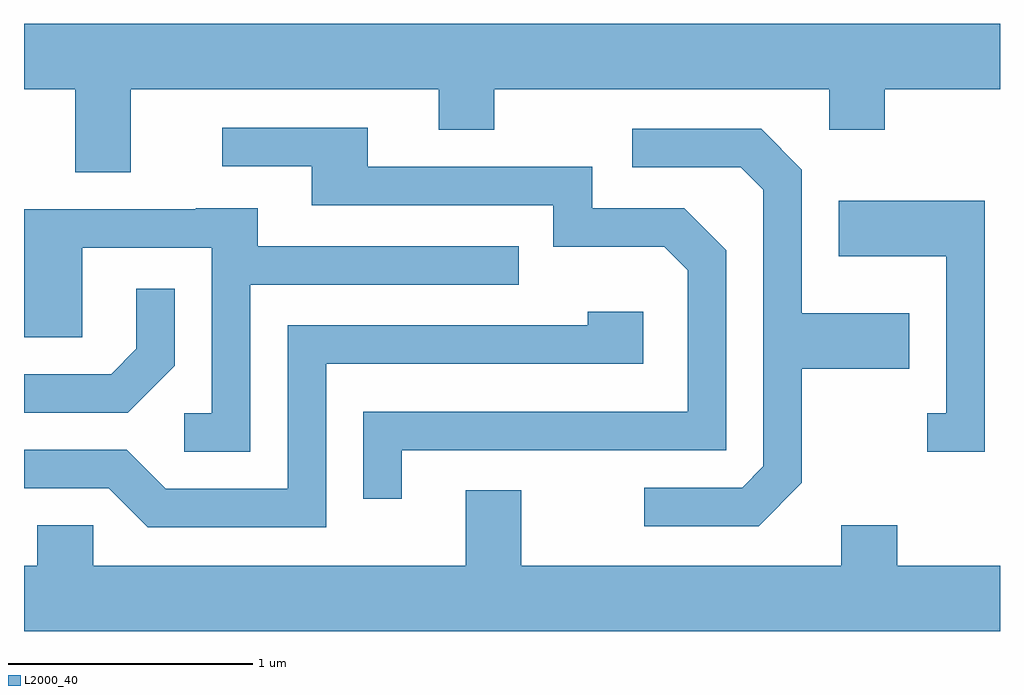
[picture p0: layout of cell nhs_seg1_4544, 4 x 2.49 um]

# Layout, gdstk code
import gdstk
lib = gdstk.Library(unit=1e-6, precision=1e-09)
def P(c, l, *ps):  # polygons
    for p in ps: c.add(gdstk.Polygon(p, *l))
L2000_40 = (2000, 40)

nhs_seg1_4544 = lib.new_cell('nhs_seg1_4544')
P(nhs_seg1_4544, L2000_40, [(322.049,908.456),(323.311,908.456),(323.311,908.291),(323.539,908.291),(323.539,908.456),(324.911,908.456),(324.911,908.291),(325.139,908.291),(325.139,908.456),(325.611,908.456),(325.611,908.724),(321.611,908.724),(321.611,908.456),(321.821,908.456),(321.821,908.116),(322.049,908.116)],
  [(323.159,906.976),(324.489,906.976),(324.489,907.797),(324.317,907.969),(323.939,907.969),(323.939,908.139),(323.019,908.139),(323.019,908.299),(322.423,908.299),(322.423,908.141),(322.791,908.141),(322.791,907.981),(323.781,907.981),(323.781,907.811),(324.234,907.811),(324.331,907.714),(324.331,907.134),(323.001,907.134),(323.001,906.778),(323.159,906.778)],
  [(324.799,906.844),(324.799,907.311),(325.239,907.311),(325.239,907.539),(324.799,907.539),(324.799,908.127),(324.632,908.294),(324.103,908.294),(324.103,908.136),(324.549,908.136),(324.641,908.044),(324.641,906.912),(324.554,906.824),(324.153,906.824),(324.153,906.666),(324.622,906.666)],
  [(325.549,907.999),(324.951,907.999),(324.951,907.771),(325.391,907.771),(325.391,907.129),(325.313,907.129),(325.313,906.971),(325.549,906.971)],
  [(322.539,907.656),(323.638,907.656),(323.638,907.814),(322.569,907.814),(322.569,907.969),(322.315,907.969),(322.315,907.964),(321.611,907.964),(321.611,907.441),(321.849,907.441),(321.849,907.806),(322.381,907.806),(322.381,907.129),(322.268,907.129),(322.268,906.971),(322.539,906.971)],
  [(322.229,907.324),(322.229,907.638),(322.071,907.638),(322.071,907.392),(321.969,907.289),(321.611,907.289),(321.611,907.131),(322.037,907.131)],
  [(322.849,907.331),(324.149,907.331),(324.149,907.544),(323.921,907.544),(323.921,907.489),(322.691,907.489),(322.691,906.819),(322.192,906.819),(322.032,906.979),(321.611,906.979),(321.611,906.821),(321.959,906.821),(322.119,906.661),(322.849,906.661)],
  [(325.611,906.504),(325.189,906.504),(325.189,906.669),(324.961,906.669),(324.961,906.504),(323.649,906.504),(323.649,906.814),(323.421,906.814),(323.421,906.504),(321.894,906.504),(321.894,906.669),(321.666,906.669),(321.666,906.504),(321.611,906.504),(321.611,906.236),(325.611,906.236)])

lib.write_gds('nhs_seg1_4544.gds')
